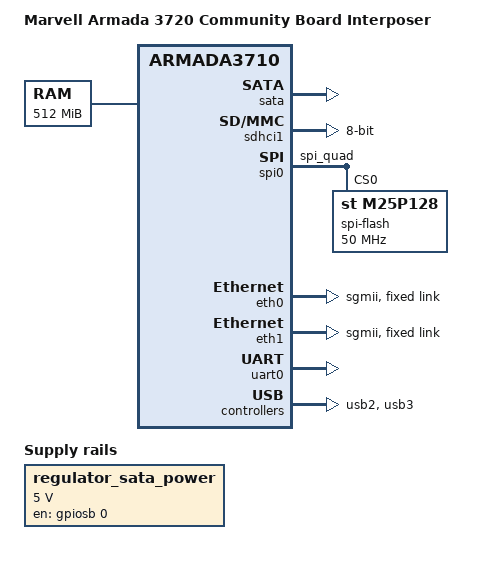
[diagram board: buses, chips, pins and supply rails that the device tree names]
/*
 * Device Tree file for Marvell Armada 3720 community board
 * (ESPRESSOBin)
 * Copyright (C) 2016 Marvell
 *
 * Gregory CLEMENT <gregory.clement@free-electrons.com>
 * Konstantin Porotchkin <kostap@marvell.com>
 *
 * This file is dual-licensed: you can use it either under the terms
 * of the GPL or the X11 license, at your option. Note that this dual
 * licensing only applies to this file, and not this project as a
 * whole.
 *
 *  a) This file is free software; you can redistribute it and/or
 *     modify it under the terms of the GNU General Public License as
 *     published by the Free Software Foundation; either version 2 of the
 *     License, or (at your option) any later version.
 *
 *     This file is distributed in the hope that it will be useful
 *     but WITHOUT ANY WARRANTY; without even the implied warranty of
 *     MERCHANTABILITY or FITNESS FOR A PARTICULAR PURPOSE.  See the
 *     GNU General Public License for more details.
 *
 * Or, alternatively
 *
 *  b) Permission is hereby granted, free of charge, to any person
 *     obtaining a copy of this software and associated documentation
 *     files (the "Software"), to deal in the Software without
 *     restriction, including without limitation the rights to use
 *     copy, modify, merge, publish, distribute, sublicense, and/or
 *     sell copies of the Software, and to permit persons to whom the
 *     Software is furnished to do so, subject to the following
 *     conditions:
 *
 *     The above copyright notice and this permission notice shall be
 *     included in all copies or substantial portions of the Software.
 *
 *     THE SOFTWARE IS PROVIDED , WITHOUT WARRANTY OF ANY KIND
 *     EXPRESS OR IMPLIED, INCLUDING BUT NOT LIMITED TO THE WARRANTIES
 *     OF MERCHANTABILITY, FITNESS FOR A PARTICULAR PURPOSE AND
 *     NONINFRINGEMENT. IN NO EVENT SHALL THE AUTHORS OR COPYRIGHT
 *     HOLDERS BE LIABLE FOR ANY CLAIM, DAMAGES OR OTHER LIABILITY
 *     WHETHER IN AN ACTION OF CONTRACT, TORT OR OTHERWISE, ARISING
 *     FROM, OUT OF OR IN CONNECTION WITH THE SOFTWARE OR THE USE OR
 *     OTHER DEALINGS IN THE SOFTWARE.
 */

/dts-v1/;

#include "armada-37xx.dtsi"

/ {
    model = "Marvell Armada 3720 Community Board Interposer";
    compatible = "marvell,armada-3720-interposer", "marvell,armada3720", "marvell,armada3710";

    chosen {
        stdout-path = "serial0:115200n8";
    };

    aliases {
        ethernet0 = &eth0;
        i2c0 = &i2c0;
        spi0 = &spi0;
    };

    memory {
        device_type = "memory";
        reg = <0x00000000 0x00000000 0x00000000 0x20000000>;
    };
    regulator_sata_power: sata-power-regulator {
        compatible = "regulator-fixed";
        regulator-name = "sata-power";
        regulator-min-microvolt = <5000000>;
        regulator-max-microvolt = <5000000>;
        enable-active-high;
        startup-delay-us = <200000>;
        gpio = <&gpiosb 0 GPIO_ACTIVE_HIGH>;
    };

};

/* CON3 */
&sata {
    power-supply = <&regulator_sata_power>;
    status = "okay";
};

&sdhci1 {
    marvell,pad-type = "fixed-1-8v";
    bus-width = <8>;
    status = "okay";
};

&spi0 {
    status = "okay";
    pinctrl-names = "default";
    pinctrl-0 = <&spi_quad_pins>;

    spi-flash@0 {
        #address-cells = <1>;
        #size-cells = <1>;
        compatible = "st,m25p128", "spi-flash";
        reg = <0>; /* Chip select 0 */
        spi-max-frequency = <50000000>;
        m25p,fast-read;
    };
};

&comphy {
	phy0 {
		phy-type = <COMPHY_TYPE_SGMII1>;
		phy-speed = <COMPHY_SPEED_1_25G>;
	};
	phy1 {
		phy-type = <COMPHY_TYPE_SGMII0>;
		phy-speed = <COMPHY_SPEED_1_25G>;
	};
	phy2 {
		phy-type = <COMPHY_TYPE_SATA0>;
		phy-speed = <COMPHY_SPEED_6G>;
	};
};

&eth0 {
	status = "okay";
	phy-mode = "sgmii";

	fixed-link {
		speed = <1000>;
		full-duplex;
	};
};
&eth1 {
	status = "okay";
	phy-mode = "sgmii";
	fixed-link {
		speed = <1000>;
		full-duplex;
	};
};

/* Exported on the micro USB connector CON32 through an FTDI */
&uart0 {
    pinctrl-names = "default";
    pinctrl-0 = <&uart1_pins>;
    status = "okay";
};

/* CON29 */
&usb2 {
    status = "okay";
};

/* CON31 */
&usb3 {
    status = "okay";
};

&pinctrl_nb {
	i2c2_pins: i2c2-pins {
		groups = "i2c2";
		function = "gpio";
	};
	sdio0_pins: sdio0-pins {
		groups = "sdio0";
		function = "gpio";
	};
	pwm0_pins: pwm0-pins {
		groups = "pwm0";
		function = "gpio";
	};
	pwm1_pins: pwm1-pins {
		groups = "pwm1";
		function = "gpio";
	};
	pwm2_pins: pwm2-pins {
		groups = "pwm2";
		function = "gpio";
	};
	pwm3_pins: pwm3-pins {
		groups = "pwm3";
		function = "gpio";
	};
	spi_quad_pins: spi-quad-pins {
		groups = "spi_quad";
		function = "gpio";
	};

};
&pinctrl_sb {
    usb32_drvvbus0_pins: usb32_drvvbus0-pins {
        groups = "usb32_drvvbus0";
        function = "gpio";
    };
    usb2_drvvbus1_pins: usb2_drvvbus1-pins {
        groups = "usb2_drvvbus1";
        function = "gpio";
    };

    rgmii_pins: mii-pins {
        groups = "rgmii";
        function = "gpio";
    };

    ptp_pins: ptp-pins {
        groups = "ptp";
        function = "gpio";
    };
    ptpclk_pins: ptpclk-pins {
        groups = "ptp_clk";
        function = "gpio";
    };
    ptptrig_pins: ptptrig-pins {
        groups = "ptp_trig";
        function = "gpio";
    };
    mmicol_pins: mmicol_-pins {
        groups = "mii_col";
        function = "gpio";
    };
};

